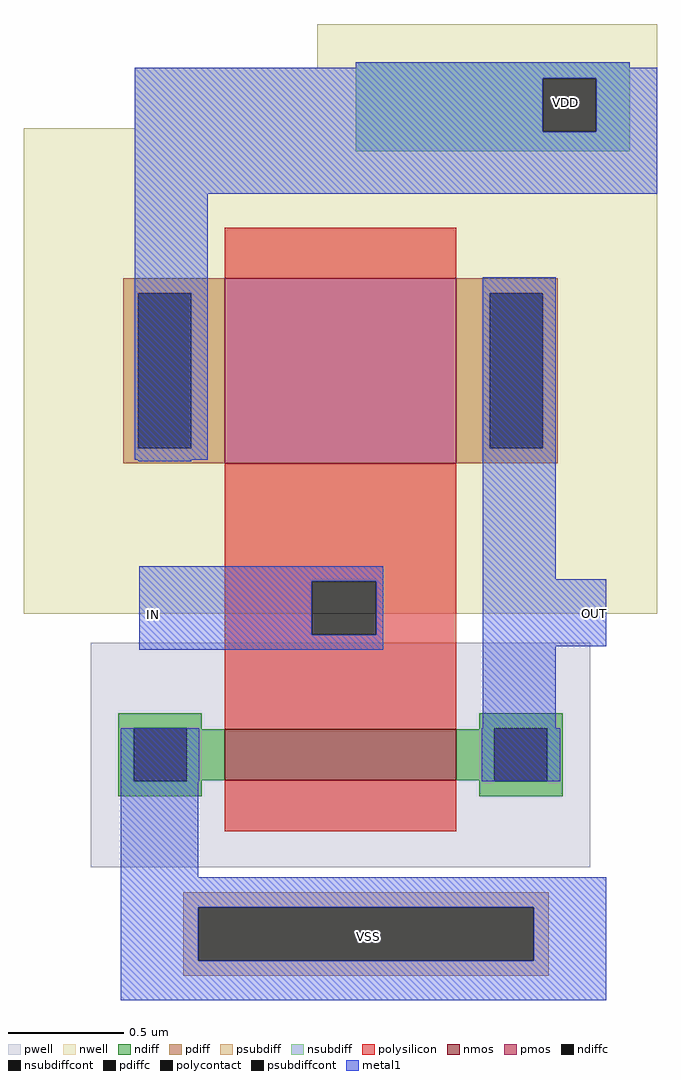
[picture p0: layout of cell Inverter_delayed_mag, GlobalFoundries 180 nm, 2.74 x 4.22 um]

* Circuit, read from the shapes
.subckt Inverter_delayed_mag VSS IN OUT VDD
XM1 OUT IN VSS VSS nfet_03v3 w=0.22u l=1u
XM2 OUT IN VDD VDD pfet_03v3 w=0.8u l=1u
.ends

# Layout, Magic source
magic
tech gf180mcuC
magscale 1 10
<< nwell >>
rect 36 631 330 669
rect -122 579 330 631
rect 36 502 330 579
<< psubdiff >>
rect -80 -95 236 -82
rect -80 -141 -67 -95
rect 223 -141 236 -95
rect -80 -154 236 -141
<< nsubdiff >>
rect 69 622 306 636
rect 69 576 231 622
rect 277 576 306 622
rect 69 559 306 576
<< psubdiffcont >>
rect -67 -141 223 -95
<< nsubdiffcont >>
rect 231 576 277 622
<< polysilicon >>
rect -44 187 156 250
rect -44 141 31 187
rect 87 141 156 187
rect -44 103 156 141
<< polycontact >>
rect 31 141 87 187
<< metal1 >>
rect 69 631 306 636
rect -122 622 330 631
rect -122 576 231 622
rect 277 576 330 622
rect -122 522 330 576
rect -122 292 -59 522
rect -118 187 93 200
rect -118 141 31 187
rect 87 141 93 187
rect -118 128 93 141
rect 179 189 242 450
rect 179 131 286 189
rect -134 -69 -67 60
rect 179 14 242 131
rect -134 -95 286 -69
rect -134 -141 -67 -95
rect 223 -141 286 -95
rect -134 -175 286 -141
use nmos_3p3_MGBSF7  nmos_3p3_MGBSF7_0
transform 1 0 56 0 1 37
box -216 -97 216 97
use pmos_3p3_MW53B7  pmos_3p3_MW53B7_0
transform 1 0 56 0 1 369
box -274 -210 274 210
<< labels >>
flabel psubdiffcont 80 -120 80 -120 0 FreeSans 640 0 0 0 VSS
port 1 nsew
flabel metal1 -106 158 -106 158 0 FreeSans 640 0 0 0 IN
port 2 nsew
flabel metal1 276 159 276 159 0 FreeSans 640 0 0 0 OUT
port 3 nsew
flabel nsubdiffcont 251 601 251 601 0 FreeSans 640 0 0 0 VDD
port 4 nsew
<< end >>

# cell nmos_3p3_MGBSF7: kit device nmos_3p3, w 0.220 l 1 m 1 nf 1 diffcov 100 polycov 100 guard 0 glc 0 grc 0 gtc 0 gbc 0 tbcov 100 rlcov 100 topc 0 botc 0 poverlap 0 doverlap 1 lmin 0.28 wmin 0.22 full_metal 0 compatible {nmos_3p3 nmos_6p0 nmos_6p0_nat}

# cell pmos_3p3_MW53B7: kit device pmos_3p3, w 0.8 l 1 m 1 nf 1 diffcov 100 polycov 100 guard 0 glc 0 grc 0 gtc 0 gbc 0 tbcov 100 rlcov 100 topc 0 botc 0 poverlap 0 doverlap 1 lmin 0.28 wmin 0.22 full_metal 0 compatible {pmos_3p3 pmos_6p0}
